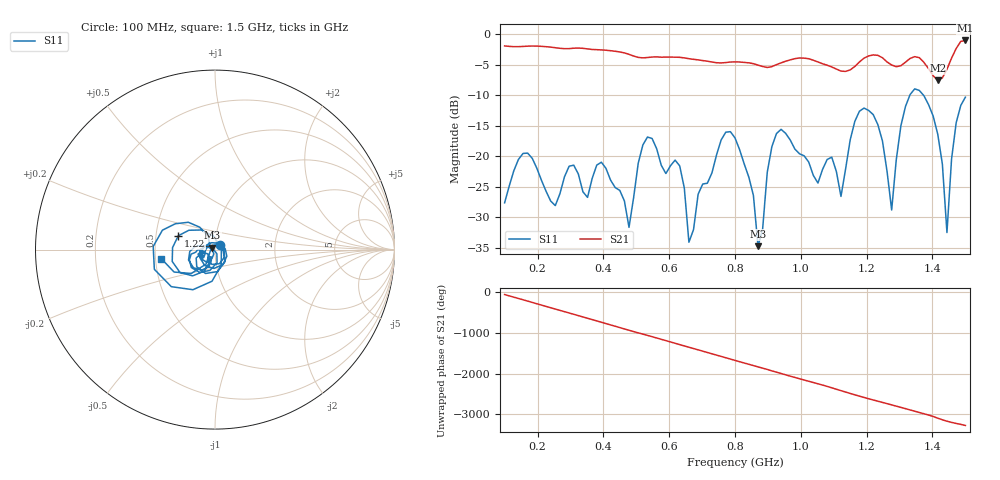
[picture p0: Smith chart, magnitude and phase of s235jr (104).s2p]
! NanoVNA-App
! Date: 2025-09-26 09:45:36
! Start: 100MHz Stop: 1,5GHz Points: 101
! S-Parameter data: F S11 S21 S12 S22
# Hz S RI R 50
!  Frequency  S11_Real  S11_Imag  S21_Real  S21_Imag  S12_Real  S12_Imag  S22_Real  S22_Imag
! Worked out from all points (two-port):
!   101 points, 100 MHz to 1.5 GHz, reference 50 ohm
!   highest |S21| = -1.06 dB at 1.5 GHz (marker M1); lowest = -7.6 dB at 1.416 GHz (marker M2)
!   |S21| within 3 dB of the highest: start of sweep to 661.8 MHz; 1.19 GHz to 1.251 GHz (61.7 MHz wide, 5.06 % of centre)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
!   lowest |S11| = -34.8 dB at 870 MHz (marker M3), VSWR 1.04, Z = 48.5 + j0.961 ohm
!   |S11| at or under -10 dB: start of sweep to 1.331 GHz; 1.372 GHz to end of sweep
!   S12 and S22 are empty: the file has one direction only
!   S11 on the Smith chart (normalised r, x): 100 MHz: 1.06, +0.06; 1.22 GHz: 0.65, +0.11; 1.5 GHz: 0.54, -0.06
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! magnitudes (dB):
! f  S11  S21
! 100 MHz  -27.7  -2.0
! 156 MHz  -19.6  -2.0
! 338 MHz  -25.9  -2.3
! 394 MHz  -21.0  -2.6
! 478 MHz  -31.7  -3.3
! 520 MHz  -18.2  -3.9
! 576 MHz  -21.5  -3.8
! 632 MHz  -21.6  -3.8
! 660 MHz  -34.1  -4.0
! 800 MHz  -17.0  -4.6
! 870 MHz  -34.8  -5.1
! 926 MHz  -16.3  -5.0
! 1.038 GHz  -23.2  -4.3
! 1.122 GHz  -26.6  -6.1
! 1.164 GHz  -14.3  -5.3
! 1.22 GHz  -13.2  -3.4
! 1.276 GHz  -28.8  -5.1
! 1.332 GHz  -9.9  -4.0
! 1.416 GHz  -16.4  -7.6
! 1.444 GHz  -32.5  -5.8
! 1.472 GHz  -14.5  -2.4
! 1.5 GHz  -10.4  -1.1
